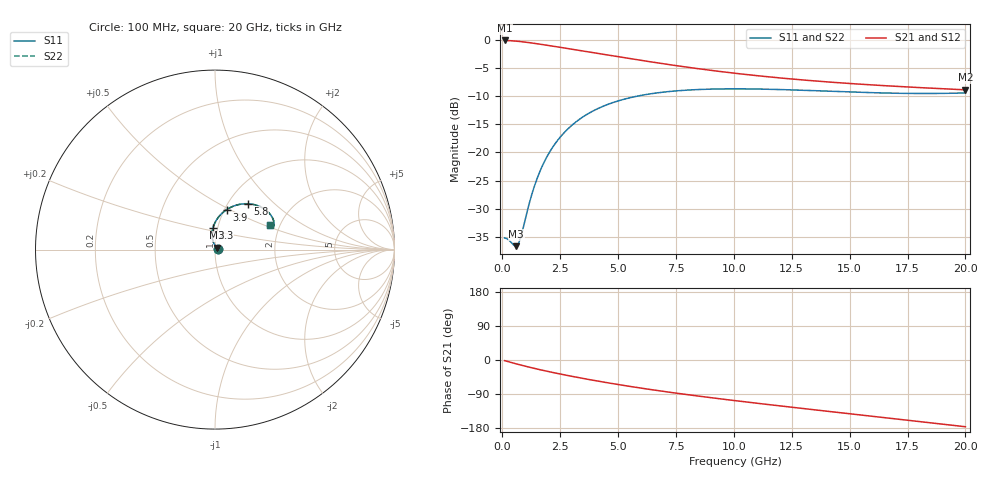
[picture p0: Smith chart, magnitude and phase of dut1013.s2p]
! Touchstone file exported from HFSS 2024.1.0
!  File:  C:/UserFiles/LocalFiles/RDL_TSV_Batchsim/temp_RDL_TSV_1013_1780079276.aedt
!  Generated:  02:41:22 AM May 30, 2026
!  Design:  RDL_TSV
!  Project:  temp_RDL_TSV_1013_1780079276
!  Setup:  Setup1
!  Solution:  Sweep
! Variables:
!  dtsv = 14.91um
!  hbump = 3um
!  htsv = 59.72um
!  ldown = 414.78um
!  lrdl = 295.8um
!  p = 40
!  p1 = 56.16um
!  rhole = 10um
!  subl = 2427.54um
!  t = 450um
!  tdown = 2.96um
!  trdl = 3.91um
!  viad = 10um
!  wdown = 13.35um
!  wrdl = 16.68um
!  xbump = 18um
# GHz S MA R 50.000000
! Terminal data exported
! Port[1] = TM1_1_T1
! Port[2] = TM1_4_T1
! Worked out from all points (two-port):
!   200 points, 100 MHz to 20 GHz, reference 50 ohm
!   highest |S21| = -0.16 dB at 100 MHz (marker M1); lowest = -8.9 dB at 20 GHz (marker M2)
!   |S21| within 3 dB of the highest: start of sweep to 5.191 GHz
!   lowest |S11| = -36.6 dB at 600 MHz (marker M3), VSWR 1.03, Z = 51 + j1.1 ohm
!   |S11| at or under -10 dB: start of sweep to 5.866 GHz
!   |S22| runs from -36.6 to -8.7 dB; largest |S21 - S12| = 2.1e-14
!   S11 on the Smith chart (normalised r, x): 100 MHz: 1.04, +0.00; 2.3 GHz: 0.95, +0.23; 3.9 GHz: 1.02, +0.48; 5.8 GHz: 1.23, +0.70; 20 GHz: 1.78, +0.55
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0.1  0.01745 5.3  0.982 -1.7  0.982 -1.7  0.01745 5.3
! Gamma 0 0 0 0
! Port Impedance 50 0 50 0
0.2  0.01717 10.6  0.9805 -3.5  0.9805 -3.5  0.01717 10.6
0.6  0.01475 47.1  0.9682 -10.1  0.9682 -10.1  0.01474 47.1
0.7  0.01555 62.0  0.9639 -11.8  0.9639 -11.8  0.01554 62.0
0.8  0.01774 75.7  0.9591 -13.3  0.9591 -13.3  0.01773 75.7
1.2  0.03753 101.3  0.937 -19.5  0.937 -19.5  0.03752 101.3
1.5  0.05839 103.6  0.9184 -23.8  0.9184 -23.8  0.05838 103.6
1.7  0.07355 102.5  0.9055 -26.6  0.9055 -26.6  0.07355 102.5
1.9  0.08921 100.5  0.8925 -29.3  0.8925 -29.3  0.08921 100.6
2.3  0.1208 95.3  0.8664 -34.5  0.8664 -34.5  0.1209 95.4
2.8  0.1591 88.3  0.8345 -40.6  0.8345 -40.6  0.1591 88.3
3.5  0.2074 78.8  0.7913 -48.8  0.7913 -48.8  0.2075 78.8
3.9  0.2318 73.8  0.7674 -53.2  0.7674 -53.2  0.2319 73.8
4.8  0.2774 63.7  0.7162 -62.7  0.7162 -62.7  0.2775 63.7
5.8  0.3143 54.3  0.6639 -72.4  0.6639 -72.4  0.3145 54.4
6.8  0.3391 46.6  0.6171 -81.4  0.6171 -81.4  0.3394 46.6
8.4  0.3602 36.9  0.554 -94.7  0.554 -94.7  0.3605 37.0
10.1  0.3658 29.6  0.5014 -107.6  0.5014 -107.6  0.3662 29.6
11.7  0.3619 24.9  0.463 -119.1  0.463 -119.1  0.3623 24.9
13.4  0.3528 21.8  0.4314 -130.9  0.4314 -130.9  0.3532 21.9
16.7  0.3353 20.9  0.3882 -153.4  0.3882 -153.4  0.3358 21.0
20  0.3365 24.1  0.3585 -176.1  0.3585 -176.1  0.337 24.2
